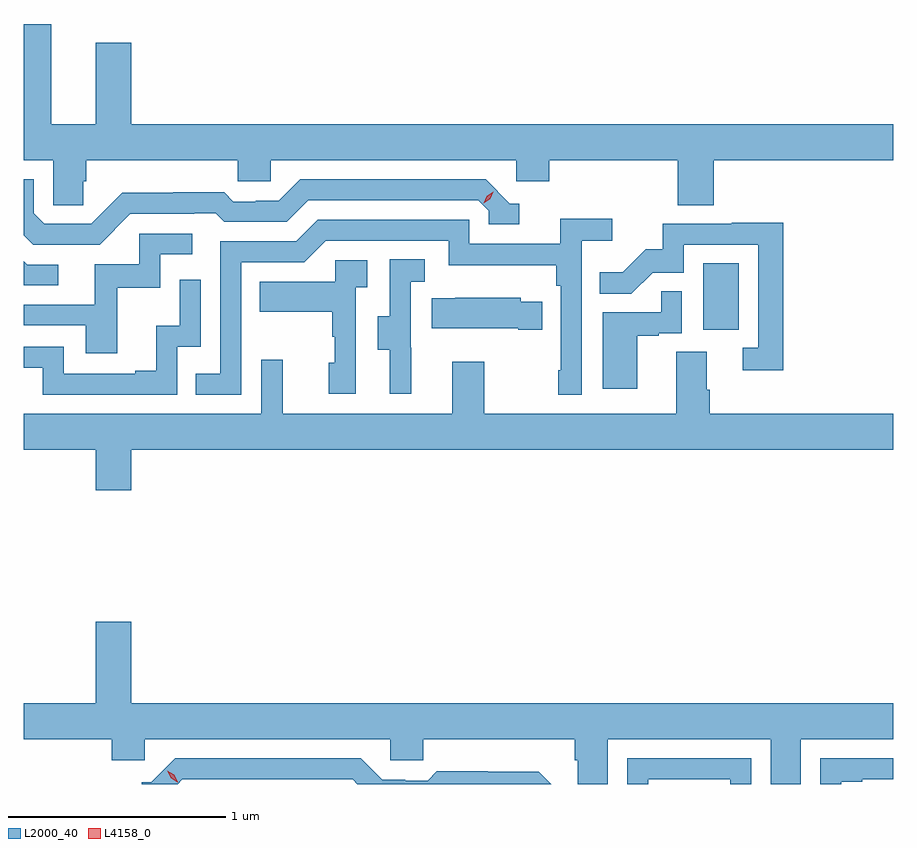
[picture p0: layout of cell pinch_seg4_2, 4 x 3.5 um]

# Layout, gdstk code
import gdstk
lib = gdstk.Library(unit=1e-6, precision=1e-09)
def R(c, l, rs):  # rectangles x0, y0, x1, y1
    for r in rs: c.add(gdstk.rectangle(r[:2], r[2:], *l))
def P(c, l, *ps):  # polygons
    for p in ps: c.add(gdstk.Polygon(p, *l))
L2000_40 = (2000, 40)
L4158_0 = (4158, 0)

pinch_seg4_2 = lib.new_cell('pinch_seg4_2')
R(pinch_seg4_2, L2000_40, [(1102.868,830.67,1103.032,830.977)])
P(pinch_seg4_2, L2000_40, [(1100.015,831.354),(1100.03,831.354),(1100.03,831.452),(1100.727,831.452),(1100.727,831.354),(1100.877,831.354),(1100.877,831.452),(1102.008,831.452),(1102.008,831.354),(1102.16,831.354),(1102.16,831.452),(1102.751,831.452),(1102.751,831.244),(1102.916,831.244),(1102.916,831.452),(1103.742,831.452),(1103.742,831.616),(1100.236,831.616),(1100.236,831.991),(1100.072,831.991),(1100.072,831.616),(1099.867,831.616),(1099.867,832.078),(1099.742,832.078),(1099.742,831.452),(1099.878,831.452),(1099.878,831.244),(1100.015,831.244)],
  [(1100.232,831.204),(1100.525,831.204),(1100.525,831.207),(1100.624,831.207),(1100.663,831.168),(1100.952,831.168),(1101.051,831.267),(1101.834,831.267),(1101.882,831.219),(1101.882,831.156),(1102.021,831.156),(1102.021,831.252),(1101.978,831.252),(1101.867,831.363),(1101.014,831.363),(1100.915,831.264),(1100.808,831.264),(1100.808,831.261),(1100.705,831.261),(1100.663,831.304),(1100.43,831.304),(1100.43,831.301),(1100.194,831.301),(1100.052,831.159),(1099.836,831.159),(1099.788,831.207),(1099.788,831.363),(1099.742,831.363),(1099.742,831.106),(1099.785,831.063),(1100.091,831.063)],
  [(1100.742,830.982),(1101.033,830.982),(1101.132,831.081),(1101.696,831.081),(1101.696,830.969),(1102.192,830.969),(1102.192,830.873),(1102.212,830.873),(1102.212,830.485),(1102.2,830.485),(1102.2,830.373),(1102.308,830.373),(1102.308,831.08),(1102.45,831.08),(1102.45,831.182),(1102.211,831.182),(1102.211,831.066),(1101.792,831.066),(1101.792,831.177),(1101.095,831.177),(1100.996,831.078),(1100.646,831.078),(1100.646,830.469),(1100.533,830.469),(1100.533,830.373),(1100.742,830.373)],
  [(1103.237,831.164),(1102.999,831.164),(1102.999,831.159),(1102.681,831.159),(1102.681,831.042),(1102.604,831.042),(1102.497,830.935),(1102.393,830.935),(1102.393,830.836),(1102.537,830.836),(1102.635,830.934),(1102.779,830.934),(1102.779,831.063),(1103.121,831.063),(1103.121,830.589),(1103.049,830.589),(1103.049,830.484),(1103.237,830.484)],
  [(1100.171,830.865),(1100.37,830.865),(1100.37,831.018),(1100.518,831.018),(1100.518,831.114),(1100.274,831.114),(1100.274,830.973),(1100.069,830.973),(1100.069,830.787),(1099.742,830.787),(1099.742,830.691),(1100.027,830.691),(1100.027,830.562),(1100.171,830.562)],
  [(1101.524,830.589),(1101.522,830.589),(1101.522,830.893),(1101.586,830.893),(1101.586,830.996),(1101.426,830.996),(1101.426,830.733),(1101.371,830.733),(1101.371,830.578),(1101.425,830.578),(1101.425,830.376),(1101.524,830.376)],
  [(1101.27,830.867),(1101.322,830.867),(1101.322,830.991),(1101.174,830.991),(1101.174,830.893),(1100.827,830.893),(1100.827,830.753),(1101.162,830.753),(1101.162,830.639),(1101.172,830.639),(1101.172,830.52),(1101.146,830.52),(1101.146,830.376),(1101.27,830.376)],
  [(1099.9,830.97),(1099.758,830.97),(1099.742,830.986),(1099.742,830.877),(1099.9,830.877)],
  [(1100.448,830.592),(1100.556,830.592),(1100.556,830.902),(1100.46,830.902),(1100.46,830.69),(1100.351,830.69),(1100.351,830.482),(1100.255,830.482),(1100.255,830.469),(1099.926,830.469),(1099.926,830.592),(1099.742,830.592),(1099.742,830.496),(1099.83,830.496),(1099.83,830.373),(1100.448,830.373)],
  [(1102.564,830.643),(1102.664,830.643),(1102.664,830.655),(1102.77,830.655),(1102.77,830.849),(1102.675,830.849),(1102.675,830.751),(1102.406,830.751),(1102.406,830.4),(1102.564,830.4)],
  [(1102.127,830.8),(1102.029,830.8),(1102.029,830.818),(1101.727,830.818),(1101.727,830.815),(1101.619,830.815),(1101.619,830.678),(1102.016,830.678),(1102.016,830.671),(1102.127,830.671)],
  [(1100.236,830.12),(1103.742,830.12),(1103.742,830.284),(1102.898,830.284),(1102.898,830.396),(1102.885,830.396),(1102.885,830.57),(1102.745,830.57),(1102.745,830.284),(1101.861,830.284),(1101.861,830.524),(1101.713,830.524),(1101.713,830.284),(1100.933,830.284),(1100.933,830.533),(1100.835,830.533),(1100.835,830.284),(1099.742,830.284),(1099.742,830.12),(1100.072,830.12),(1100.072,829.932),(1100.236,829.932)],
  [(1102.428,828.788),(1103.178,828.788),(1103.178,828.581),(1103.317,828.581),(1103.317,828.788),(1103.742,828.788),(1103.742,828.952),(1100.236,828.952),(1100.236,829.327),(1100.072,829.327),(1100.072,828.952),(1099.742,828.952),(1099.742,828.788),(1100.147,828.788),(1100.147,828.69),(1100.298,828.69),(1100.298,828.788),(1101.429,828.788),(1101.429,828.69),(1101.579,828.69),(1101.579,828.788),(1102.277,828.788),(1102.277,828.69),(1102.291,828.69),(1102.291,828.581),(1102.428,828.581)],
  [(1103.503,828.591),(1103.599,828.591),(1103.599,828.603),(1103.742,828.603),(1103.742,828.699),(1103.406,828.699),(1103.406,828.581),(1103.503,828.581)],
  [(1102.615,828.603),(1102.992,828.603),(1102.992,828.581),(1103.088,828.581),(1103.088,828.699),(1102.518,828.699),(1102.518,828.581),(1102.615,828.581)],
  [(1100.472,828.603),(1101.255,828.603),(1101.277,828.581),(1102.168,828.581),(1102.112,828.637),(1101.876,828.637),(1101.876,828.64),(1101.643,828.64),(1101.601,828.597),(1101.498,828.597),(1101.498,828.6),(1101.391,828.6),(1101.292,828.699),(1100.439,828.699),(1100.328,828.588),(1100.285,828.588),(1100.285,828.581),(1100.45,828.581)])
P(pinch_seg4_2, L4158_0, [(1101.858,831.253),(1101.858,831.253),(1101.873,831.286),(1101.903,831.307),(1101.903,831.307),(1101.903,831.306),(1101.888,831.273),(1101.858,831.253)],
  [(1100.449,828.59),(1100.419,828.61),(1100.402,828.642),(1100.402,828.642),(1100.403,828.642),(1100.433,828.623),(1100.45,828.591),(1100.45,828.59)])

lib.write_gds('pinch_seg4_2.gds')
